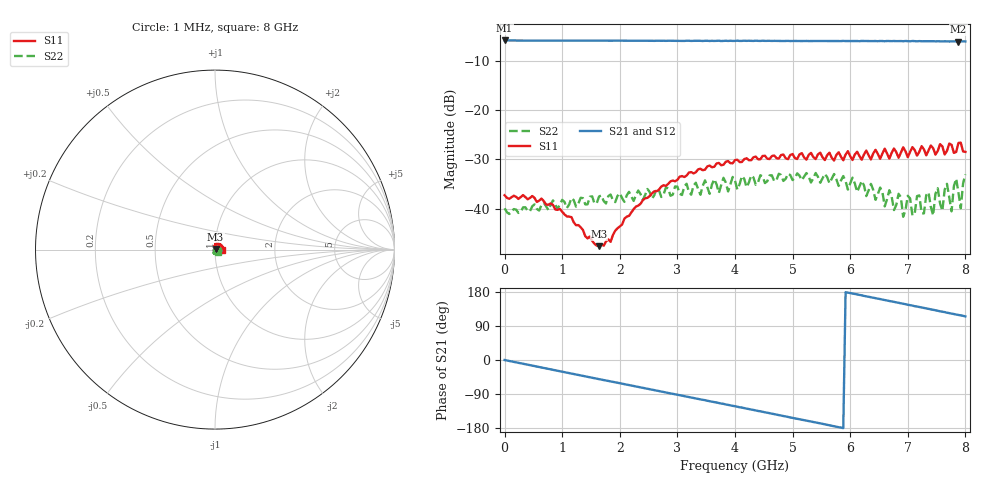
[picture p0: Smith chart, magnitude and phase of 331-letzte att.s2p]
# Hz S DB R 50
! CMT, CMT804U, 21380002, 24.2.2/4
! Date: 09/12/2025 13:17:18
! Data: Format (Calibration Info)
! Freq	S11:dB/Ang(F2)	S21:dB/Ang(F2)	S12:dB/Ang(F2)	S22:dB/Ang(F2)
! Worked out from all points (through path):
!   201 points, 1 MHz to 8 GHz, reference 50 ohm
!   highest |S21| = -5.89 dB at 1 MHz (marker M1); lowest = -6.1 dB at 7.88 GHz (marker M2)
!   group delay of S21, straight-line fit = 84.9 ps
!   lowest |S11| = -47.6 dB at 1.641 GHz (marker M3), VSWR 1.01, Z = 50.3 + j0.29 ohm
!   |S11| at or under -10 dB: start of sweep to end of sweep
!   |S22| runs from -41.6 to -32.7 dB; largest |S21 - S12| = 0.0076
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1000000  -37.25 -3.1  -5.89 -0.1  -5.85 -0.1  -39.87 -3.3
1.36083e9  -44.27 8.6  -5.93 -41.9  -5.92 -42.0  -37.83 -20.3
1.640795e9  -47.56 43.5  -5.93 -50.5  -5.92 -50.5  -37.50 -35.5
2.680665e9  -36.10 95.7  -5.96 -82.1  -5.94 -82.2  -36.23 -37.2
4.0005e9  -30.12 78.9  -5.98 -121.9  -6.00 -122.5  -34.26 -61.5
5.36033e9  -29.52 68.3  -6.00 -163.6  -6.00 -164.2  -33.76 -105.1
6.520185e9  -29.87 49.4  -5.99 160.9  -6.02 160.7  -35.68 -99.7
6.600175e9  -27.82 48.7  -6.04 158.3  -6.03 158.0  -39.50 -91.9
6.680165e9  -29.84 47.3  -6.02 155.7  -6.02 155.6  -36.24 -96.5
6.920135e9  -27.52 40.9  -6.04 148.4  -6.04 147.9  -41.61 -71.3
7.000125e9  -29.54 41.0  -6.02 145.7  -5.99 145.8  -37.34 -85.2
7.080115e9  -27.50 35.8  -6.00 143.6  -6.03 143.3  -41.32 -58.8
7.36008e9  -28.18 22.0  -6.06 134.9  -6.04 134.5  -36.67 -44.9
7.44007e9  -27.71 33.3  -6.03 132.3  -5.99 132.2  -41.33 -64.3
7.52006e9  -28.29 15.3  -6.04 130.0  -6.07 129.8  -35.82 -40.2
7.60005e9  -27.33 26.8  -6.09 127.5  -6.02 127.3  -40.39 -55.1
7.68004e9  -28.26 9.8  -6.07 124.9  -6.04 124.9  -34.93 -35.1
7.76003e9  -27.03 21.0  -6.08 122.7  -6.02 122.7  -40.50 -52.1
7.84002e9  -28.47 3.5  -6.08 120.0  -6.06 120.3  -33.90 -35.3
7.880015e9  -26.64 4.6  -6.10 118.8  -6.00 119.2  -36.77 -17.0
7.92001e9  -26.60 12.8  -6.10 117.8  -6.03 117.5  -39.89 -46.7
8e9  -28.47 -1.1  -6.08 115.0  -5.99 115.6  -33.03 -35.1
